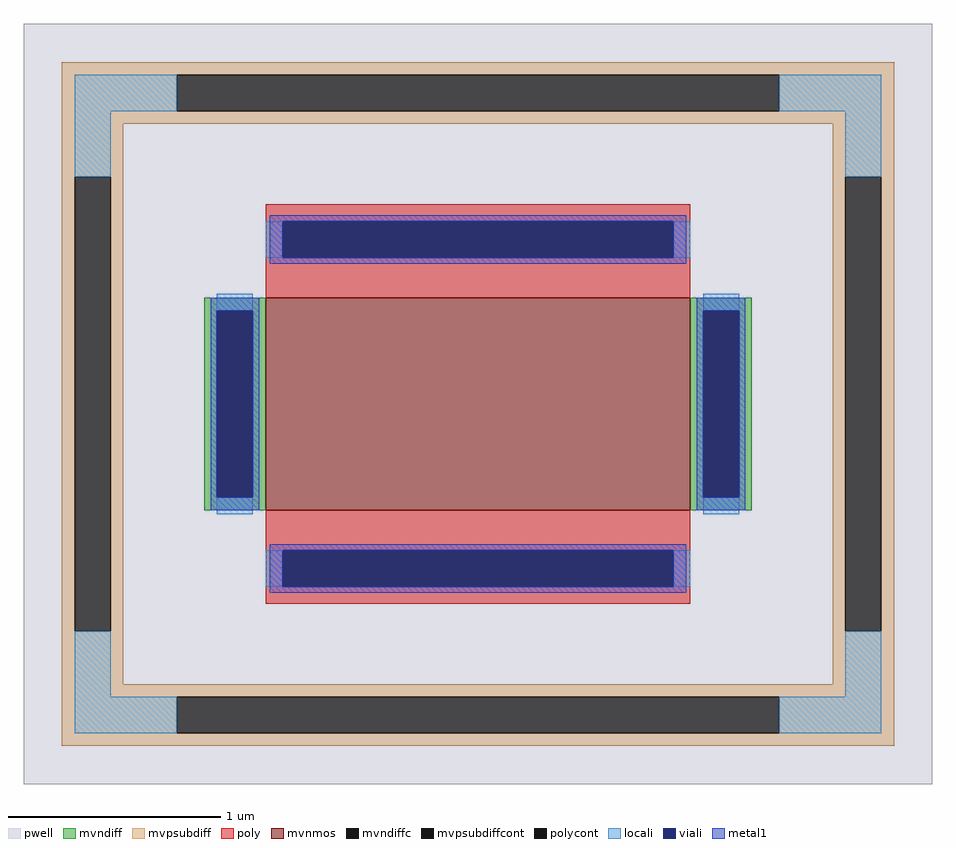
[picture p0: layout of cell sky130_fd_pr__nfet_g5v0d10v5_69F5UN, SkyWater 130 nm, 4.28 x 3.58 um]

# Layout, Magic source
magic
tech sky130A
<< pwell >>
rect -214 -179 214 179
<< mvnmos >>
rect -100 -50 100 50
<< mvndiff >>
rect -129 44 -100 50
rect -129 -44 -123 44
rect -106 -44 -100 44
rect -129 -50 -100 -44
rect 100 44 129 50
rect 100 -44 106 44
rect 123 -44 129 44
rect 100 -50 129 -44
<< mvndiffc >>
rect -123 -44 -106 44
rect 106 -44 123 44
<< mvpsubdiff >>
rect -196 155 196 161
rect -196 138 -142 155
rect 142 138 196 155
rect -196 132 196 138
rect -196 107 -167 132
rect -196 -107 -190 107
rect -173 -107 -167 107
rect 167 107 196 132
rect -196 -132 -167 -107
rect 167 -107 173 107
rect 190 -107 196 107
rect 167 -132 196 -107
rect -196 -138 196 -132
rect -196 -155 -142 -138
rect 142 -155 196 -138
rect -196 -161 196 -155
<< mvpsubdiffcont >>
rect -142 138 142 155
rect -190 -107 -173 107
rect 173 -107 190 107
rect -142 -155 142 -138
<< poly >>
rect -100 86 100 94
rect -100 69 -92 86
rect 92 69 100 86
rect -100 50 100 69
rect -100 -69 100 -50
rect -100 -86 -92 -69
rect 92 -86 100 -69
rect -100 -94 100 -86
<< polycont >>
rect -92 69 92 86
rect -92 -86 92 -69
<< locali >>
rect -190 138 -142 155
rect 142 138 190 155
rect -190 107 -173 138
rect 173 107 190 138
rect -100 69 -92 86
rect 92 69 100 86
rect -123 44 -106 52
rect -123 -52 -106 -44
rect 106 44 123 52
rect 106 -52 123 -44
rect -100 -86 -92 -69
rect 92 -86 100 -69
rect -190 -138 -173 -107
rect 173 -138 190 -107
rect -190 -155 -142 -138
rect 142 -155 190 -138
<< viali >>
rect -92 69 92 86
rect -123 -44 -106 44
rect 106 -44 123 44
rect -92 -86 92 -69
<< metal1 >>
rect -98 86 98 89
rect -98 69 -92 86
rect 92 69 98 86
rect -98 66 98 69
rect -126 44 -103 50
rect -126 -44 -123 44
rect -106 -44 -103 44
rect -126 -50 -103 -44
rect 103 44 126 50
rect 103 -44 106 44
rect 123 -44 126 44
rect 103 -50 126 -44
rect -98 -69 98 -66
rect -98 -86 -92 -69
rect 92 -86 98 -69
rect -98 -89 98 -86
<< properties >>
string FIXED_BBOX -181 -146 181 146
string gencell sky130_fd_pr__nfet_g5v0d10v5
string library sky130
string parameters w 1.0 l 2.0 m 1 nf 1 diffcov 100 polycov 100 guard 1 glc 1 grc 1 gtc 1 gbc 1 tbcov 100 rlcov 100 topc 1 botc 1 poverlap 0 doverlap 1 lmin 0.50 wmin 0.42 compatible {sky130_fd_pr__nfet_01v8 sky130_fd_pr__nfet_01v8_lvt  sky130_fd_bs_flash__special_sonosfet_star  sky130_fd_pr__nfet_g5v0d10v5 sky130_fd_pr__nfet_05v0_nvt  sky130_fd_pr__nfet_03v3_nvt} full_metal 1 viasrc 100 viadrn 100 viagate 100 viagb 0 viagr 0 viagl 0 viagt 0
<< end >>
